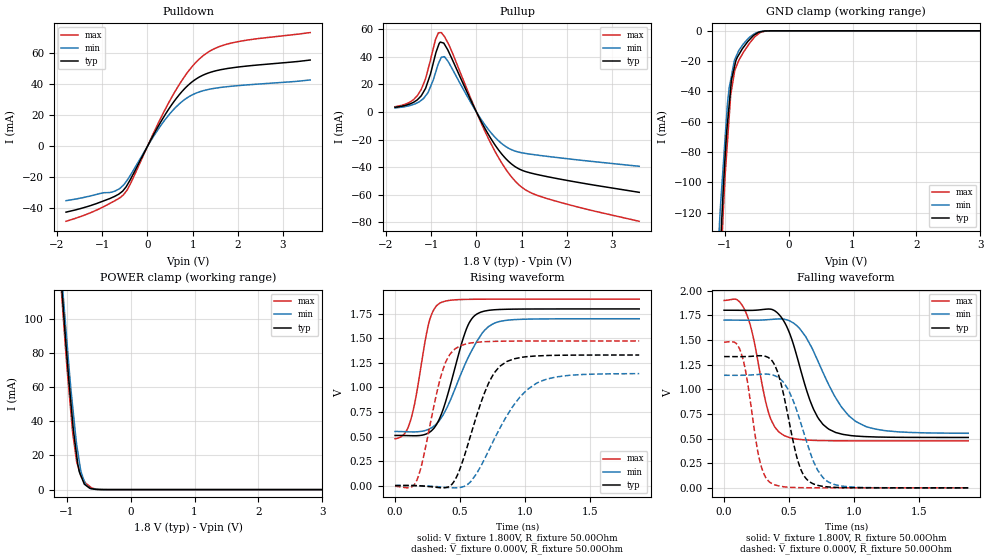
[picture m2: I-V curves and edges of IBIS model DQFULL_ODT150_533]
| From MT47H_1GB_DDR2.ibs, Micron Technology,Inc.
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|MODEL DQFULL_ODT150_533(Full-Drv IO Drvr with 150 ohm ODT Sub-model,400/533)
[Model]   DQFULL_ODT150_533
Model_type   I/O
Vinl = 650.000mV
Vinh = 1.150V
Vmeas = 900.000mV
Vref = 900.000mV
Cref = 0.0pF
Rref = 25.000Ohm
|   typ   min   max
C_comp   2.776pF   2.652pF   2.950pF
| Note: C_comp decreases when the ODT circuit is enabled.
[Model Spec]
| Input threshold voltage corners
Vinl   0.650V   0.600V   0.700V
Vinh   1.150V   1.100V   1.200V
| Measurement voltage corners
Vmeas   0.900V   0.850V   0.950V
| Timing spec test load voltage corners
| Vref   0.900V   0.850V   0.950V
| [Receiver Thresholds]
[Voltage Range]   1.800V   1.700V   1.900V
[Pullup Reference]   1.800V   1.700V   1.900V
| Junction Temperature (Ambient temp is 25C typ, 85C min, 0C max)
[Temperature Range]   40.0   100.0   0.0
[Add Submodel]
| Submodel Name   Mode
150ohm_ODT_533   Non-Driving
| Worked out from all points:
|   slope of the pulldown table from 0 to 0.27 V, typ, clamps not added: 18.6 ohm
|   slope of the pullup table from 0 to 0.27 V, typ, clamps not added: 16.3 ohm
|   GND clamp passes 1 mA (typ) near -0.47 V on its own axis
|   POWER clamp passes 1 mA (typ) near -0.64 V on its own axis
|   falling waveform, V_fixture 1.800V, R_fixture 50.00Ohm: 20-80 % time 188ps typ, 273ps min, 134ps max; typ from 1.8 V to 0.511 V
|   rising waveform, V_fixture 1.800V, R_fixture 50.00Ohm: 20-80 % time 167ps typ, 235ps min, 114ps max; typ from 0.511 V to 1.8 V
|   rising waveform, V_fixture 0.000V, R_fixture 50.00Ohm: 20-80 % time 203ps typ, 296ps min, 149ps max; typ from 0 V to 1.33 V
|   falling waveform, V_fixture 0.000V, R_fixture 50.00Ohm: 20-80 % time 133ps typ, 180ps min, 105ps max; typ from 1.33 V to 0 V
[Pulldown]
|   Voltage   I(typ)   I(min)   I(max)
-1.8V     -42.4mA    -35.02mA   -48.3mA
-1.265V   -38.24mA   -31.99mA   -42.86mA
-780mV    -32.96mA   -29.43mA   -35.98mA
-530mV    -28.22mA   -24.95mA   -31.25mA
-355mV    -20.13mA   -17.54mA   -22.86mA
155mV     8.542mA    7.366mA    9.813mA
500mV     25.32mA    21.22mA    29.74mA
860mV     38.35mA    31mA       46.67mA
1.23V     45.98mA    35.91mA    58.46mA
1.515V    48.8mA     37.62mA    63.49mA
1.95V     51.01mA    39.07mA    67.28mA
3.6V      55.72mA    42.87mA    73.44mA
[GND Clamp]
|   Voltage   I(typ)   I(min)   I(max)
-1.8V     -885.8mA   -819.1mA   -938.5mA
-1.12V    -188.2mA   -159.6mA   -210mA
-1.07V    -145.5mA   -118.5mA   -164mA
-1.02V    -102.7mA   -87.53mA   -118mA
-955mV    -60.48mA   -47.58mA   -72.46mA
-905mV    -37.56mA   -32.23mA   -42.09mA
-890mV    -31.76mA   -28.89mA   -38.27mA
-840mV    -22.52mA   -18.73mA   -25.82mA
-780mV    -15.87mA   -13.11mA   -19.6mA
-520mV    -2.278mA   -1.509mA   -3.635mA
-255mV    -5.692uA   -11.73uA   -4.466uA
3.6V      0A         0A         0A
[Pullup]
|   Voltage   I(typ)   I(min)   I(max)
-1.8V     3.413mA    2.941mA    3.844mA
-1.455V   6.074mA    4.877mA    7.517mA
-1.22V    11.82mA    8.537mA    16.48mA
-1.07V    22.41mA    14.16mA    30.98mA
-905mV    41.97mA    28.57mA    52.66mA
-775mV    50.52mA    39.72mA    57.57mA
-635mV    45.14mA    37.09mA    50.37mA
305mV     -18.49mA   -14.29mA   -21.87mA
605mV     -32.19mA   -24.01mA   -39.29mA
890mV     -40.31mA   -28.67mA   -51.2mA
1.545V    -46.71mA   -32.05mA   -62.56mA
3.6V      -58.22mA   -39.34mA   -79.23mA
[POWER Clamp]
|   Voltage   I(typ)   I(min)   I(max)
-1.8V     517.7mA    504.2mA    528.2mA
-1.075V   117.8mA    123.6mA    112.9mA
-1.07V    115.2mA    121.1mA    110.2mA
-1.02V    89.9mA     98.08mA    84.09mA
-955mV    60.02mA    68.19mA    54.51mA
-905mV    39.34mA    48.51mA    33.18mA
-845mV    20.58mA    26.85mA    16.88mA
-805mV    11.14mA    17.26mA    11.43mA
-775mV    7.973mA    10.43mA    7.86mA
-710mV    2.815mA    3.328mA    4.203mA
-635mV    750.9uA    807.6uA    1.771mA
3.6V      0A         0A         0A
[Ramp]
R_load = 50.00Ohm
|   typ   min   max
dV/dt_r   798.164mV/203.162ps 684.072mV/296.469ps 887.847mV/149.196ps
dV/dt_f   773.562mV/188.455ps 688.140mV/272.596ps 853.811mV/134.246ps
[Falling Waveform]
V_fixture = 1.800V
V_fixture_min = 1.700V
V_fixture_max = 1.900V
R_fixture = 50.00Ohm
|   Time   V(typ)   V(min)   V(max)
0s        1.8V       1.7V       1.899V
100ps     1.8V       1.7V       1.907V
170ps     1.799V     1.699V     1.772V
340ps     1.813V     1.705V     773.7mV
460ps     1.69V      1.71V      531.7mV
680ps     824.8mV    1.408V     481.9mV
810ps     592.1mV    1.034V     478.1mV
960ps     533mV      731.3mV    476.7mV
1.09ns    519.2mV    622.6mV    476.4mV
1.88ns    510.8mV    553.2mV    476.2mV
[Rising Waveform]
V_fixture = 1.800V
V_fixture_min = 1.700V
V_fixture_max = 1.900V
R_fixture = 50.00Ohm
|   Time   V(typ)   V(min)   V(max)
0s        510.8mV    551.6mV    476.9mV
70ps      510.1mV    549.2mV    524.1mV
120ps     508.4mV    547.3mV    666.1mV
260ps     538.3mV    573.8mV    1.659V
350ps     706.1mV    679.4mV    1.863V
550ps     1.598V     1.268V     1.898V
640ps     1.755V     1.491V     1.899V
720ps     1.786V     1.62V      1.899V
850ps     1.796V     1.683V     1.9V
1.88ns    1.8V       1.7V       1.9V
[Rising Waveform]
V_fixture = 0.000V
V_fixture_min = 0.000V
V_fixture_max = 0.000V
R_fixture = 50.00Ohm
|   Time   V(typ)   V(min)   V(max)
0s        157.3uV    511.1uV    -6.22mV
170ps     -1.132mV   -786.2uV   61.17mV
360ps     -22.97mV   -14.39mV   1.146V
470ps     79.04mV    -22.71mV   1.4V
580ps     502.9mV    36.36mV    1.452V
720ps     1.043V     354.5mV    1.468V
860ps     1.264V     709.4mV    1.472V
1.01ns    1.313V     967.7mV    1.473V
1.17ns    1.325V     1.085V     1.473V
1.88ns    1.33V      1.141V     1.474V
[Falling Waveform]
V_fixture = 0.000V
V_fixture_min = 0.000V
V_fixture_max = 0.000V
R_fixture = 50.00Ohm
|   Time   V(typ)   V(min)   V(max)
0s        1.331V     1.141V     1.476V
130ps     1.33V      1.141V     1.373V
270ps     1.339V     1.15V      300.2mV
360ps     1.302V     1.148V     50.08mV
420ps     1.141V     1.115V     19.62mV
500ps     678.8mV    980.5mV    6.426mV
580ps     226.6mV    702.3mV    2.34mV
660ps     59.82mV    371mV      1.011mV
860ps     4.839mV    30.25mV    174.3uV
1.88ns    54.17uV    80.21uV    46.83uV
